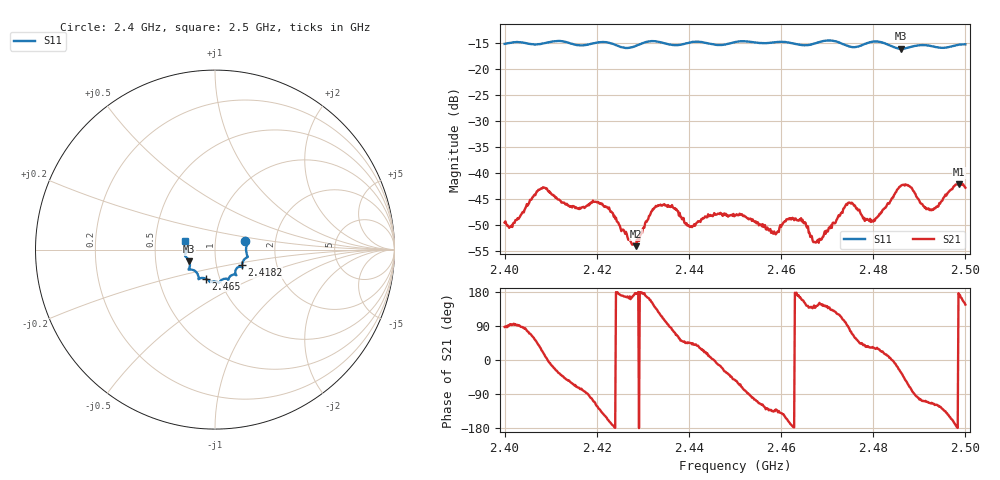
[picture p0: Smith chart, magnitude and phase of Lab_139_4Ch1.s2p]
# Hz S RI R 50
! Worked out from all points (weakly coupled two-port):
!   601 points, 2.4 GHz to 2.5 GHz, reference 50 ohm
!   highest |S21| = -42.08 dB at 2.4987 GHz (marker M1); lowest = -54.0 dB at 2.4285 GHz (marker M2)
!   lowest |S11| = -16.1 dB at 2.486 GHz (marker M3), VSWR 1.37, Z = 37.2 - j4.96 ohm
!   |S11| at or under -10 dB: start of sweep to end of sweep
!   S12 and S22 are empty: the file has one direction only
!   S11 on the Smith chart (normalised r, x): 2.4 GHz: 1.40, +0.14; 2.4182 GHz: 1.33, -0.23; 2.465 GHz: 0.86, -0.28; 2.5 GHz: 0.71, +0.07
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2.4e9  0.1687 0.047  0.000158 0.00336  0 0  0 0
2.4015e9  0.176 0.0393  -0.000125 0.00314  0 0  0 0
2.408333e9  0.1756 -0.0194  0.00689 0.00252  0 0  0 0
2.416667e9  0.1547 -0.0684  0.00115 -0.00452  0 0  0 0
2.418167e9  0.1501 -0.0853  -9.9e-05 -0.00501  0 0  0 0
2.422333e9  0.152 -0.0983  -0.00428 -0.00184  0 0  0 0
2.4285e9  0.1129 -0.1237  -0.00198 0.000203  0 0  0 0
2.433333e9  0.1176 -0.1411  -0.00297 0.00396  0 0  0 0
2.440167e9  0.0756 -0.1639  0.00214 0.00217  0 0  0 0
2.45e9  0.0263 -0.1802  0.00235 -0.00311  0 0  0 0
2.458667e9  -0.0214 -0.1801  -0.00188 -0.00188  0 0  0 0
2.4615e9  -0.0299 -0.1782  -0.0034 -0.00121  0 0  0 0
2.465e9  -0.0524 -0.1615  -0.00293 0.00153  0 0  0 0
2.466667e9  -0.0712 -0.1577  -0.00186 0.00165  0 0  0 0
2.468667e9  -0.0875 -0.1621  -0.00192 0.00126  0 0  0 0
2.4745e9  -0.0974 -0.1356  4.61e-05 0.00518  0 0  0 0
2.4795e9  -0.1449 -0.1111  0.00287 0.00183  0 0  0 0
2.483333e9  -0.1411 -0.0968  0.00504 0.000823  0 0  0 0
2.486e9  -0.1432 -0.065  0.00639 -0.00407  0 0  0 0
2.492667e9  -0.1648 -0.0233  -0.00172 -0.00406  0 0  0 0
2.498667e9  -0.1671 0.0398  -0.00781 0.000972  0 0  0 0
2.5e9  -0.1669 0.0469  -0.00605 0.00403  0 0  0 0
